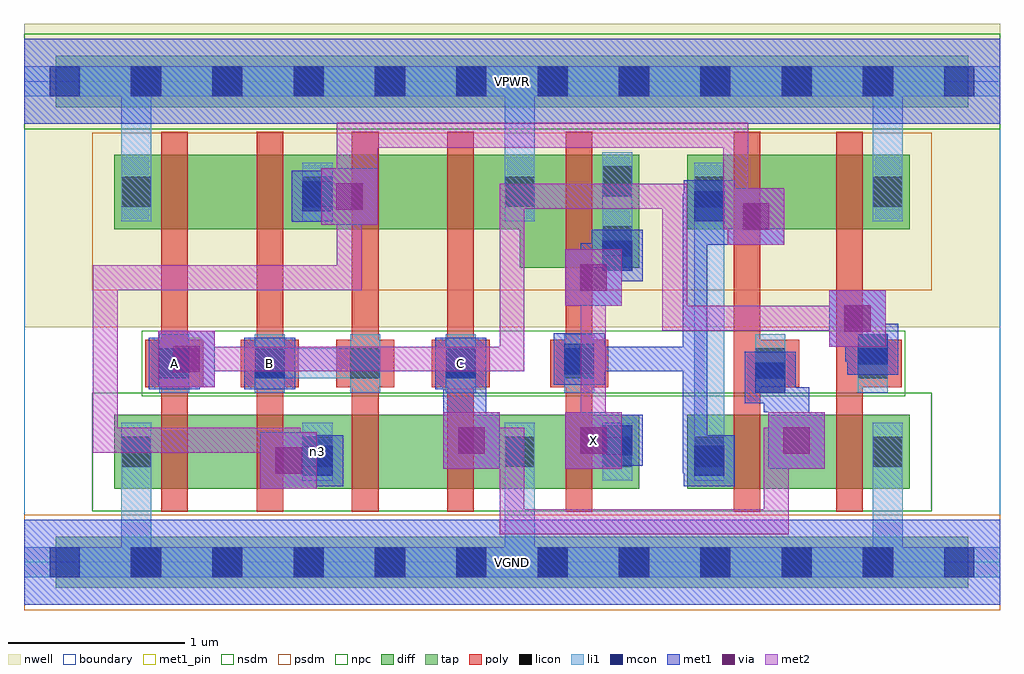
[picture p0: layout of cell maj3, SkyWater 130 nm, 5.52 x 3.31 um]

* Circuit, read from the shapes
.subckt maj3 A B C VGND VPWR X n3
XM1 n1 A VGND VGND sky130_fd_pr__nfet_01v8 w=0.42 l=0.15
XM2 n3 B n1 VGND sky130_fd_pr__nfet_01v8 w=0.42 l=0.15
XM3 n2 B n3 VGND sky130_fd_pr__nfet_01v8 w=0.42 l=0.15
XM4 VGND C n2 VGND sky130_fd_pr__nfet_01v8 w=0.42 l=0.15
XM5 X n3 VGND VGND sky130_fd_pr__nfet_01v8 w=0.42 l=0.15
XM6 n4 C n3 VGND sky130_fd_pr__nfet_01v8 w=0.42 l=0.15
XM7 VGND A n4 VGND sky130_fd_pr__nfet_01v8 w=0.42 l=0.15
XM8 n5 A VPWR VPWR sky130_fd_pr__pfet_01v8 w=0.42 l=0.15
XM9 n3 B n5 VPWR sky130_fd_pr__pfet_01v8 w=0.42 l=0.15
XM10 n6 B n3 VPWR sky130_fd_pr__pfet_01v8 w=0.42 l=0.15
XM11 VPWR C n6 VPWR sky130_fd_pr__pfet_01v8 w=0.42 l=0.15
XM12 X n3 VPWR VPWR sky130_fd_pr__pfet_01v8 w=0.64 l=0.15
XM13 n7 C n3 VPWR sky130_fd_pr__pfet_01v8 w=0.42 l=0.15
XM14 VPWR A n7 VPWR sky130_fd_pr__pfet_01v8 w=0.42 l=0.15
.ends

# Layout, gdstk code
import gdstk
lib = gdstk.Library(unit=1e-6, precision=1e-09)
def R(c, l, rs):  # rectangles x0, y0, x1, y1
    for r in rs: c.add(gdstk.rectangle(r[:2], r[2:], *l))
def A(c, l, x, y, w, h, nx, ny, dx, dy):  # array of equal rectangles
    R(c, l, [(x+i*dx, y+j*dy, x+i*dx+w, y+j*dy+h) for i in range(nx) for j in range(ny)])
nwell = (64, 20)
diff = (65, 20)
tap = (65, 44)
poly = (66, 20)
licon = (66, 44)
li1 = (67, 20)
mcon = (67, 44)
met1_pin = (68, 16)
met1 = (68, 20)
via = (68, 44)
met2 = (69, 20)
nsdm = (93, 44)
psdm = (94, 20)
npc = (95, 20)
boundary = (235, 4)

maj3 = lib.new_cell('maj3')
R(maj3, nwell, [(0,1.33,5.52,3.045)])
R(maj3, diff, [(0.51,0.415,2.805,0.835), (2.805,0.415,3.48,0.835), (3.75,0.415,5.01,0.835), (2.805,1.665,3.48,2.305), (0.51,1.885,2.805,2.305), (3.75,1.885,5.01,2.305)])
R(maj3, tap, [(0.18,-0.145,5.34,0.145), (0.18,2.575,5.34,2.865)])
A(maj3, poly, 0.775, 0.285, 0.15, 2.15, 4, 1, 0.54, 0)
A(maj3, poly, 0.685, 0.99, 0.33, 0.27, 4, 1, 0.54, 0)
R(maj3, poly, [(3.065,0.285,3.215,2.435), (4.015,0.285,4.165,2.435), (4.595,0.285,4.745,2.435), (2.975,0.99,3.305,1.26), (4.055,0.99,4.385,1.26), (4.635,0.99,4.965,1.26)])
A(maj3, licon, 0.605, -0.085, 0.17, 0.17, 10, 2, 0.46, 2.72)
A(maj3, licon, 0.765, 1.04, 0.17, 0.17, 4, 1, 0.54, 0)
R(maj3, licon, [(0.55,0.54,0.72,0.71), (1.575,0.54,1.745,0.71), (2.72,0.54,2.89,0.71), (3.27,0.54,3.44,0.71), (3.79,0.54,3.96,0.71), (4.8,0.54,4.97,0.71), (3.055,1.04,3.225,1.21), (4.135,1.04,4.305,1.21), (4.715,1.04,4.885,1.21), (3.27,1.73,3.44,1.9), (0.55,2.01,0.72,2.18), (1.575,2.01,1.745,2.18), (2.72,2.01,2.89,2.18), (3.79,2.01,3.96,2.18), (4.8,2.01,4.97,2.18), (3.27,2.07,3.44,2.24)])
A(maj3, li1, 0.765, 0.96, 0.17, 0.33, 4, 1, 0.54, 0)
R(maj3, li1, [(0,-0.085,5.52,0.085), (0.55,-0.085,0.72,0.79), (2.72,-0.085,2.89,0.79), (4.8,-0.085,4.97,0.79), (0.55,0.46,0.72,0.79), (1.575,0.46,1.745,0.79), (2.72,0.46,2.89,0.79), (3.27,0.46,3.44,0.79), (3.79,0.46,3.96,0.79), (3.79,0.46,3.96,2.26), (4.8,0.46,4.97,0.79), (3.055,0.96,3.225,1.29), (4.135,0.96,4.305,1.29), (4.715,0.96,4.885,1.29), (1.305,1.04,2.015,1.21), (3.27,1.65,3.44,2.32), (0.55,1.93,0.72,2.26), (0.55,1.93,0.72,2.805), (1.575,1.93,1.745,2.26), (2.72,1.93,2.89,2.26), (2.72,1.93,2.89,2.805), (3.79,1.93,3.96,2.26), (4.8,1.93,4.97,2.26), (4.8,1.93,4.97,2.805), (0,2.635,5.52,2.805)])
A(maj3, mcon, 0.145, -0.085, 0.17, 0.17, 12, 2, 0.46, 2.72)
R(maj3, mcon, [(1.575,0.49,1.745,0.66), (3.79,0.49,3.96,0.66), (3.27,0.605,3.44,0.775), (4.135,0.96,4.305,1.13), (0.765,1.04,0.935,1.21), (1.305,1.04,1.475,1.21), (2.385,1.04,2.555,1.21), (3.055,1.065,3.225,1.235), (4.715,1.12,4.885,1.29), (3.27,1.65,3.44,1.82), (3.79,1.93,3.96,2.1), (1.575,1.985,1.745,2.155)])
R(maj3, met1_pin, [(0,-0.24,5.52,0.24), (3.06,0.53,3.38,0.85), (0.705,0.98,0.995,1.27), (1.245,0.98,1.535,1.27), (2.325,0.98,2.615,1.27), (0,2.48,5.52,2.96)])
R(maj3, met1, [(0,-0.24,5.52,0.24), (1.335,0.415,1.655,0.735), (1.515,0.43,1.805,0.72), (3.73,0.43,4.02,0.72), (1.425,0.505,1.73,0.645), (3.725,0.505,3.945,0.645), (3.725,0.505,3.865,1.22), (2.37,0.53,2.69,0.85), (3.06,0.53,3.38,0.85), (4.21,0.53,4.53,0.85), (3.21,0.545,3.5,0.835), (2.46,0.62,2.6,1.22), (3.15,0.62,3.425,0.76), (4.3,0.62,4.44,0.99), (2.37,0.85,2.615,0.98), (4.185,0.85,4.325,1.115), (4.185,0.85,4.44,0.99), (4.075,0.9,4.365,1.19), (4.15,0.975,4.325,1.115), (0.705,0.98,0.995,1.27), (1.245,0.98,1.535,1.27), (2.325,0.98,2.615,1.27), (0.76,0.99,1.08,1.31), (2.995,1.005,3.285,1.295), (4.655,1.06,4.945,1.35), (0.85,1.08,0.99,1.22), (2.46,1.08,2.6,1.22), (3.07,1.08,3.405,1.22), (3.265,1.08,3.865,1.22), (3.725,1.08,3.865,1.91), (4.645,1.135,4.87,1.275), (4.645,1.135,4.785,1.45), (4.555,1.22,4.875,1.54), (3.06,1.45,3.38,1.77), (3.15,1.54,3.29,1.805), (3.21,1.59,3.5,1.88), (3.15,1.665,3.425,1.805), (3.725,1.77,3.865,2.085), (3.725,1.77,3.865,2.025), (3.865,1.795,3.98,2.025), (3.865,1.795,3.98,2.085), (3.865,1.795,3.98,1.91), (3.98,1.795,4.3,2.115), (3.73,1.87,4.02,2.16), (3.725,1.885,4.21,2.025), (1.68,1.91,2,2.23), (1.515,1.925,1.805,2.215), (3.725,1.945,3.945,2.085), (1.59,2,1.91,2.14), (0,2.48,5.52,2.96)])
R(maj3, via, [(1.42,0.5,1.57,0.65), (2.455,0.615,2.605,0.765), (3.145,0.615,3.295,0.765), (4.295,0.615,4.445,0.765), (0.845,1.075,0.995,1.225), (4.64,1.305,4.79,1.455), (3.145,1.535,3.295,1.685), (4.065,1.88,4.215,2.03), (1.765,1.995,1.915,2.145)])
R(maj3, met2, [(2.69,0.16,2.83,0.76), (2.69,0.16,4.325,0.3), (4.185,0.16,4.325,0.76), (1.335,0.415,1.655,0.735), (1.425,0.505,1.565,0.76), (2.37,0.53,2.69,0.85), (3.06,0.53,3.38,0.85), (4.21,0.53,4.53,0.85), (0.39,0.62,0.53,1.68), (0.39,0.62,1.565,0.76), (2.46,0.62,2.83,0.76), (3.15,0.62,3.29,1.68), (4.185,0.62,4.44,0.76), (0.76,0.99,1.08,1.31), (0.85,1.08,2.83,1.22), (2.69,1.08,2.83,2.14), (4.555,1.22,4.875,1.54), (3.61,1.31,3.75,2.14), (3.61,1.31,4.785,1.45), (3.06,1.45,3.38,1.77), (0.39,1.54,1.91,1.68), (1.77,1.54,1.91,2.14), (3.98,1.795,4.3,2.115), (3.955,1.885,4.095,2.485), (3.955,1.885,4.21,2.025), (1.68,1.91,2,2.23), (1.77,2,1.91,2.485), (2.69,2,3.75,2.14), (1.77,2.23,2,2.345), (1.77,2.345,4.095,2.485)])
R(maj3, nsdm, [(0.385,0.29,5.135,0.96), (0,2.45,5.52,2.99)])
R(maj3, psdm, [(0,-0.27,5.52,0.27), (0.385,1.54,5.135,2.43)])
R(maj3, npc, [(0.665,0.94,4.985,1.31)])
R(maj3, boundary, [(0,0,5.52,2.72)])
maj3.add(gdstk.Label('n3', (1.66,0.625), layer=67, texttype=5))
maj3.add(gdstk.Label('A', (0.85,1.125), layer=68, texttype=5))
maj3.add(gdstk.Label('B', (1.39,1.125), layer=68, texttype=5))
maj3.add(gdstk.Label('C', (2.47,1.125), layer=68, texttype=5))
maj3.add(gdstk.Label('X', (3.22,0.69), layer=68, texttype=5))
maj3.add(gdstk.Label('VPWR', (2.76,2.72), layer=68, texttype=5))
maj3.add(gdstk.Label('VGND', (2.76,0), layer=68, texttype=5))
maj3.add(gdstk.Label('A', (0.85,1.125), layer=68, texttype=16))
maj3.add(gdstk.Label('B', (1.39,1.125), layer=68, texttype=16))
maj3.add(gdstk.Label('C', (2.47,1.125), layer=68, texttype=16))
maj3.add(gdstk.Label('X', (3.22,0.69), layer=68, texttype=16))
maj3.add(gdstk.Label('VPWR', (2.76,2.72), layer=68, texttype=16))
maj3.add(gdstk.Label('VGND', (2.76,0), layer=68, texttype=16))

lib.write_gds('maj3.gds')
